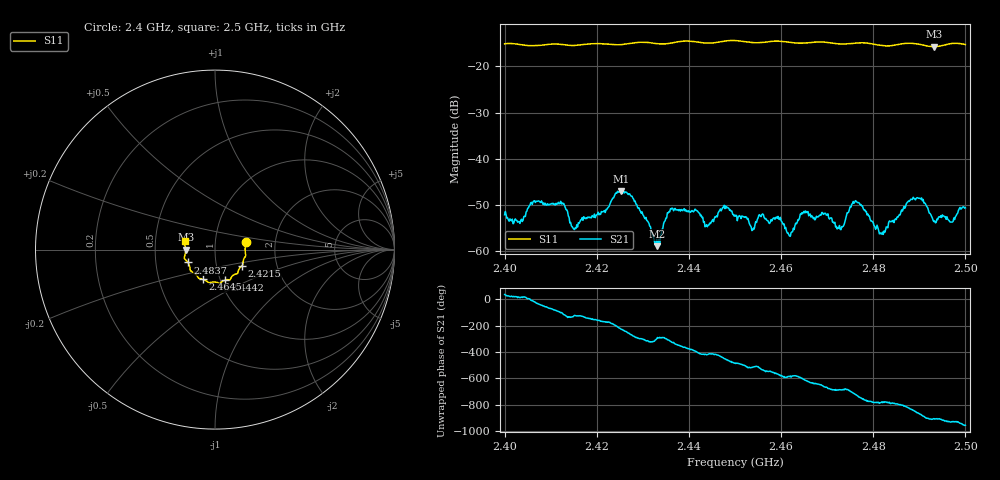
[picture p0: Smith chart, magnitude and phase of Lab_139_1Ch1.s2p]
# Hz S RI R 50
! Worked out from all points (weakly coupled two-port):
!   601 points, 2.4 GHz to 2.5 GHz, reference 50 ohm
!   highest |S21| = -46.93 dB at 2.4253 GHz (marker M1); lowest = -58.9 dB at 2.4332 GHz (marker M2)
!   lowest |S11| = -15.7 dB at 2.4932 GHz (marker M3), VSWR 1.39, Z = 35.9 - j0.0487 ohm
!   |S11| at or under -10 dB: start of sweep to end of sweep
!   S12 and S22 are empty: the file has one direction only
!   S11 on the Smith chart (normalised r, x): 2.4 GHz: 1.41, +0.12; 2.4215 GHz: 1.33, -0.25; 2.4442 GHz: 1.05, -0.37; 2.4645 GHz: 0.83, -0.29; 2.4837 GHz: 0.73, -0.11; 2.5 GHz: 0.71, +0.07
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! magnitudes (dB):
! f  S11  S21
! 2.4 GHz  -15.1  -52.1
! 2.4035 GHz  -15.3  -53.3
! 2.4075 GHz  -15.4  -49.2
! 2.4167 GHz  -15.3  -53.2
! 2.4215 GHz  -15.1  -51.3
! 2.4253 GHz  -15.3  -46.9
! 2.4332 GHz  -15.1  -58.9
! 2.4333 GHz  -15.1  -58.0
! 2.4365 GHz  -14.9  -50.7
! 2.4442 GHz  -15.0  -54.4
! 2.45 GHz  -14.4  -52.1
! 2.4618 GHz  -14.8  -56.7
! 2.4645 GHz  -15.0  -51.6
! 2.4667 GHz  -14.8  -52.3
! 2.4727 GHz  -15.1  -54.4
! 2.4762 GHz  -15.0  -49.0
! 2.4817 GHz  -15.5  -56.2
! 2.4833 GHz  -15.6  -53.8
! 2.4837 GHz  -15.5  -53.5
! 2.4892 GHz  -15.1  -48.9
! 2.4932 GHz  -15.7  -53.6
! 2.5 GHz  -15.3  -50.6
